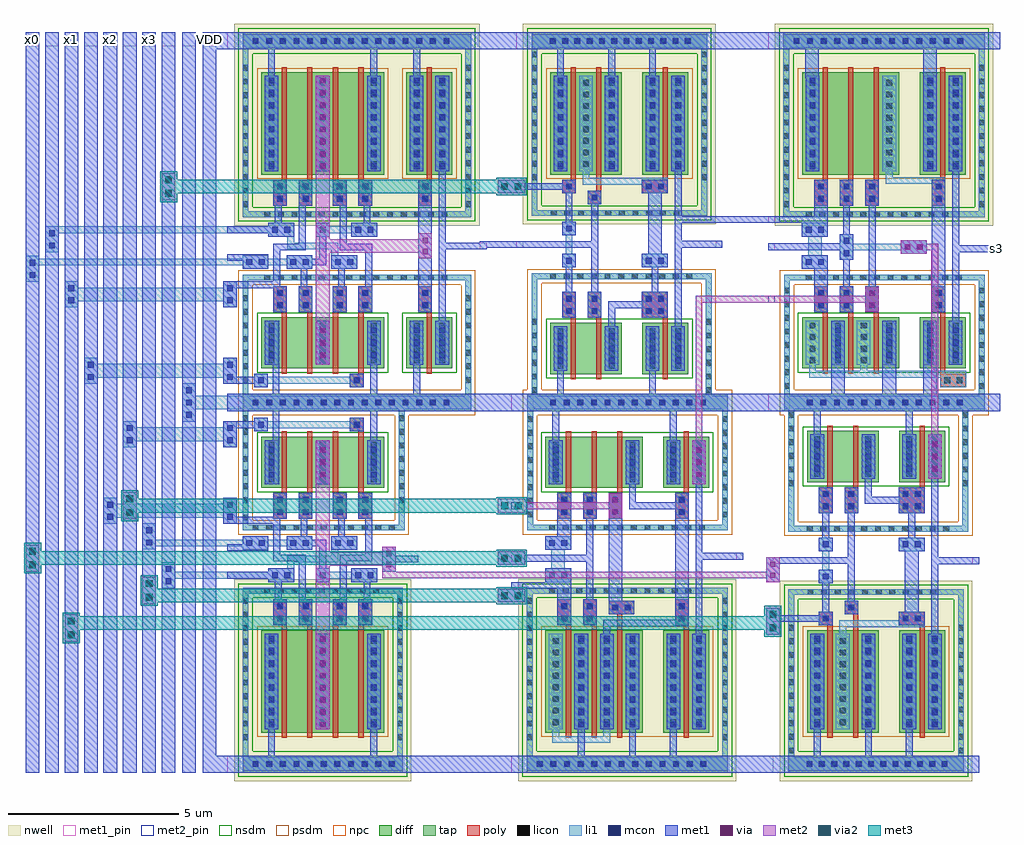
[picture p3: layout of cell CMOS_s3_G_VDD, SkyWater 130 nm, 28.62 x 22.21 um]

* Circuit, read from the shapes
.subckt CMOS_s3_G_VDD GND VDD s3 x0 x0_bar x1 x1_bar x2 x2_bar x3 x3_bar
XM1 n1 x2 GND GND sky130_fd_pr__nfet_01v8 w=1.5 l=0.15
XM2 n2 x1 GND GND sky130_fd_pr__nfet_01v8 w=1.5 l=0.15
XM3 CMOS_AND_G_VDD_5/A x3 n1 GND sky130_fd_pr__nfet_01v8 w=1.5 l=0.15
XM4 n3 x0 n2 GND sky130_fd_pr__nfet_01v8 w=1.5 l=0.15
XM5 n4 x3_bar CMOS_AND_G_VDD_5/A GND sky130_fd_pr__nfet_01v8 w=1.5 l=0.15
XM6 n5 x0_bar n3 GND sky130_fd_pr__nfet_01v8 w=1.5 l=0.15
XM7 GND x2_bar n4 GND sky130_fd_pr__nfet_01v8 w=1.5 l=0.15
XM8 GND x1_bar n5 GND sky130_fd_pr__nfet_01v8 w=1.5 l=0.15
XM9 CMOS_AND_G_VDD_4/A n3 GND GND sky130_fd_pr__nfet_01v8 w=1.5 l=0.15
XM10 n6 x3 GND GND sky130_fd_pr__nfet_01v8 w=1.5 l=0.15
XM11 n7 x3_bar GND GND sky130_fd_pr__nfet_01v8 w=1.5 l=0.15
XM12 n8 x0 n6 GND sky130_fd_pr__nfet_01v8 w=1.5 l=0.15
XM13 n9 CMOS_AND_G_VDD_4/A n7 GND sky130_fd_pr__nfet_01v8 w=1.5 l=0.15
XM14 n10 x2_bar n8 GND sky130_fd_pr__nfet_01v8 w=1.5 l=0.15
XM15 CMOS_3in_OR_G_VDD_2/A n9 GND GND sky130_fd_pr__nfet_01v8 w=1.5 l=0.15
XM16 CMOS_3in_OR_G_VDD_2/C n10 GND GND sky130_fd_pr__nfet_01v8 w=1.5 l=0.15
XM17 GND CMOS_3in_OR_G_VDD_2/A n11 GND sky130_fd_pr__nfet_01v8 w=1.5 l=0.15
XM18 n12 x1 GND GND sky130_fd_pr__nfet_01v8 w=1.5 l=0.15
XM19 n11 CMOS_AND_G_VDD_5/AND GND GND sky130_fd_pr__nfet_01v8 w=1.5 l=0.15
XM20 n13 CMOS_AND_G_VDD_5/A n12 GND sky130_fd_pr__nfet_01v8 w=1.5 l=0.15
XM21 GND CMOS_3in_OR_G_VDD_2/C n11 GND sky130_fd_pr__nfet_01v8 w=1.5 l=0.15
XM22 CMOS_AND_G_VDD_5/AND n13 GND GND sky130_fd_pr__nfet_01v8 w=1.5 l=0.15
XM23 s3 n11 GND GND sky130_fd_pr__nfet_01v8 w=1.5 l=0.15
XM24 n14 x3_bar VDD VDD sky130_fd_pr__pfet_01v8 w=3 l=0.15
XM25 n15 x0_bar VDD VDD sky130_fd_pr__pfet_01v8 w=3 l=0.15
XM26 CMOS_AND_G_VDD_5/A x2 n14 VDD sky130_fd_pr__pfet_01v8 w=3 l=0.15
XM27 n3 x1 n15 VDD sky130_fd_pr__pfet_01v8 w=3 l=0.15
XM28 n16 x2_bar CMOS_AND_G_VDD_5/A VDD sky130_fd_pr__pfet_01v8 w=3 l=0.15
XM29 n17 x1_bar n3 VDD sky130_fd_pr__pfet_01v8 w=3 l=0.15
XM30 VDD x3 n16 VDD sky130_fd_pr__pfet_01v8 w=3 l=0.15
XM31 VDD x0 n17 VDD sky130_fd_pr__pfet_01v8 w=3 l=0.15
XM32 CMOS_AND_G_VDD_4/A n3 VDD VDD sky130_fd_pr__pfet_01v8 w=3 l=0.15
XM33 VDD x3 n10 VDD sky130_fd_pr__pfet_01v8 w=3 l=0.15
XM34 n9 x3_bar VDD VDD sky130_fd_pr__pfet_01v8 w=3 l=0.15
XM35 n10 x0 VDD VDD sky130_fd_pr__pfet_01v8 w=3 l=0.15
XM36 VDD CMOS_AND_G_VDD_4/A n9 VDD sky130_fd_pr__pfet_01v8 w=3 l=0.15
XM37 VDD x2_bar n10 VDD sky130_fd_pr__pfet_01v8 w=3 l=0.15
XM38 CMOS_3in_OR_G_VDD_2/A n9 VDD VDD sky130_fd_pr__pfet_01v8 w=3 l=0.15
XM39 CMOS_3in_OR_G_VDD_2/C n10 VDD VDD sky130_fd_pr__pfet_01v8 w=3 l=0.15
XM40 n18 CMOS_3in_OR_G_VDD_2/A VDD VDD sky130_fd_pr__pfet_01v8 w=3 l=0.15
XM41 n13 x1 VDD VDD sky130_fd_pr__pfet_01v8 w=3 l=0.15
XM42 n19 CMOS_AND_G_VDD_5/AND n18 VDD sky130_fd_pr__pfet_01v8 w=3 l=0.15
XM43 VDD CMOS_AND_G_VDD_5/A n13 VDD sky130_fd_pr__pfet_01v8 w=3 l=0.15
XM44 n11 CMOS_3in_OR_G_VDD_2/C n19 VDD sky130_fd_pr__pfet_01v8 w=3 l=0.15
XM45 CMOS_AND_G_VDD_5/AND n13 VDD VDD sky130_fd_pr__pfet_01v8 w=3 l=0.15
XM46 s3 n11 VDD VDD sky130_fd_pr__pfet_01v8 w=3 l=0.15
.ends

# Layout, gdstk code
import gdstk
lib = gdstk.Library(unit=1e-6, precision=1e-09)
def R(c, l, rs):  # rectangles x0, y0, x1, y1
    for r in rs: c.add(gdstk.rectangle(r[:2], r[2:], *l))
def A(c, l, x, y, w, h, nx, ny, dx, dy):  # array of equal rectangles
    R(c, l, [(x+i*dx, y+j*dy, x+i*dx+w, y+j*dy+h) for i in range(nx) for j in range(ny)])
nwell = (64, 20)
diff = (65, 20)
tap = (65, 44)
poly = (66, 20)
licon = (66, 44)
li1 = (67, 20)
mcon = (67, 44)
met1_pin = (68, 16)
met1 = (68, 20)
via = (68, 44)
met2_pin = (69, 16)
met2 = (69, 20)
via2 = (69, 44)
met3 = (70, 20)
nsdm = (93, 44)
psdm = (94, 20)
npc = (95, 20)

cmos_xor_g_vdd = lib.new_cell('CMOS_XOR_G_VDD')
R(cmos_xor_g_vdd, nwell, [(0.2,5.56,5.4,11.48)])
R(cmos_xor_g_vdd, diff, [(1,1.375,4.6,2.875), (1,7.06,4.6,10.06)])
R(cmos_xor_g_vdd, tap, [(0.45,0.125,5.205,0.625), (0.45,0.625,0.62,3.955), (5.035,0.625,5.205,3.955), (0.45,3.955,5.205,4.125), (0.45,5.81,5.15,5.98), (0.45,5.98,0.62,10.73), (4.98,5.98,5.15,10.73), (0.45,10.73,5.15,11.23)])
A(cmos_xor_g_vdd, poly, 1.6, 1.225, 0.15, 1.8, 4, 1, 0.75, 0)
A(cmos_xor_g_vdd, poly, 1.6, 6.91, 0.15, 3.3, 4, 1, 0.75, 0)
R(cmos_xor_g_vdd, poly, [(3.6,0.825,4,1.225), (1.35,3.025,1.75,3.785), (2.1,3.025,2.5,3.785), (3.1,3.025,3.5,3.785), (3.85,3.025,4.25,3.785), (1.35,6.15,1.75,6.91), (2.1,6.15,2.5,6.91), (3.1,6.15,3.5,6.91), (3.85,6.15,4.25,6.91)])
A(cmos_xor_g_vdd, licon, 0.745, 0.29, 0.17, 0.17, 11, 2, 0.4, 3.665)
A(cmos_xor_g_vdd, licon, 0.45, 0.75, 0.17, 0.17, 1, 7, 0, 0.4)
A(cmos_xor_g_vdd, licon, 5.035, 0.75, 0.17, 0.17, 1, 7, 0, 0.4)
A(cmos_xor_g_vdd, licon, 1.215, 1.53, 0.17, 0.17, 3, 4, 1.5, 0.34)
A(cmos_xor_g_vdd, licon, 1.09, 5.81, 0.17, 0.17, 9, 1, 0.4, 0)
A(cmos_xor_g_vdd, licon, 0.45, 6.105, 0.17, 0.17, 1, 11, 0, 0.4)
A(cmos_xor_g_vdd, licon, 4.98, 6.105, 0.17, 0.17, 1, 11, 0, 0.4)
A(cmos_xor_g_vdd, licon, 1.215, 7.285, 0.17, 0.17, 3, 8, 1.5, 0.34)
A(cmos_xor_g_vdd, licon, 0.745, 10.895, 0.17, 0.17, 11, 1, 0.4, 0)
R(cmos_xor_g_vdd, licon, [(3.715,0.94,3.885,1.11), (1.465,3.14,1.635,3.31), (2.215,3.14,2.385,3.31), (3.215,3.14,3.385,3.31), (3.965,3.14,4.135,3.31), (1.465,3.5,1.635,3.67), (2.215,3.5,2.385,3.67), (3.215,3.5,3.385,3.67), (3.965,3.5,4.135,3.67), (0.45,3.66,0.62,3.83), (1.465,6.265,1.635,6.435), (2.215,6.265,2.385,6.435), (3.215,6.265,3.385,6.435), (3.965,6.265,4.135,6.435), (1.465,6.625,1.635,6.795), (2.215,6.625,2.385,6.795), (3.215,6.625,3.385,6.795), (3.965,6.625,4.135,6.795)])
A(cmos_xor_g_vdd, li1, 1.1, 1.475, 0.4, 1.3, 3, 1, 1.5, 0)
A(cmos_xor_g_vdd, li1, 1.1, 7.16, 0.4, 2.8, 3, 1, 1.5, 0)
R(cmos_xor_g_vdd, li1, [(0.45,0.175,5.205,0.575), (0.45,0.575,0.62,3.955), (5.035,0.575,5.205,3.955), (0.79,0.825,1.19,0.925), (3.6,0.825,4,0.925), (0.79,0.925,4,1.125), (0.79,1.125,1.19,1.225), (3.6,1.125,4,1.225), (1.35,3.025,1.75,3.785), (2.1,3.025,2.5,3.785), (3.1,3.025,3.5,3.785), (3.85,3.025,4.25,3.785), (0.45,3.955,5.205,4.125), (0.45,4.295,1.21,4.395), (1.74,4.295,2.5,4.395), (3.05,4.295,3.81,4.695), (0.45,4.395,2.5,4.595), (0.45,4.595,1.21,4.695), (1.74,4.595,2.5,4.695), (3.05,4.695,3.25,4.865), (1.76,4.865,3.25,5.065), (1.76,5.065,1.96,5.24), (1.2,5.24,1.96,5.64), (2.6,5.24,3,5.345), (3.64,5.24,4.4,5.345), (2.6,5.345,4.4,5.545), (2.6,5.545,3,5.64), (3.64,5.545,4.4,5.64), (0.45,5.81,5.15,5.98), (0.45,5.98,0.62,10.78), (4.98,5.98,5.15,10.78), (1.35,6.15,1.75,6.91), (2.1,6.15,2.5,6.91), (3.1,6.15,3.5,6.91), (3.85,6.15,4.25,6.91), (0.45,10.78,5.15,11.18)])
A(cmos_xor_g_vdd, mcon, 0.745, 0.29, 0.17, 0.17, 11, 2, 0.4, 10.605)
A(cmos_xor_g_vdd, mcon, 1.215, 1.68, 0.17, 0.17, 3, 3, 1.5, 0.36)
A(cmos_xor_g_vdd, mcon, 1.675, 5.355, 0.17, 0.17, 3, 1, 1.04, 0)
A(cmos_xor_g_vdd, mcon, 1.215, 7.215, 0.17, 0.17, 3, 8, 1.5, 0.36)
R(cmos_xor_g_vdd, mcon, [(0.905,0.94,1.075,1.11), (3.715,0.94,3.885,1.11), (1.465,3.14,1.635,3.31), (2.215,3.14,2.385,3.31), (3.215,3.14,3.385,3.31), (3.965,3.14,4.135,3.31), (1.465,3.5,1.635,3.67), (2.215,3.5,2.385,3.67), (3.215,3.5,3.385,3.67), (3.965,3.5,4.135,3.67), (0.565,4.41,0.735,4.58), (0.925,4.41,1.095,4.58), (1.855,4.41,2.025,4.58), (2.215,4.41,2.385,4.58), (3.165,4.41,3.335,4.58), (3.525,4.41,3.695,4.58), (1.315,5.355,1.485,5.525), (4.115,5.355,4.285,5.525), (1.465,6.265,1.635,6.435), (2.215,6.265,2.385,6.435), (3.215,6.265,3.385,6.435), (3.965,6.265,4.135,6.435), (1.465,6.625,1.635,6.795), (2.215,6.625,2.385,6.795), (3.215,6.625,3.385,6.795), (3.965,6.625,4.135,6.795)])
R(cmos_xor_g_vdd, met1_pin, [(0,0.125,0.5,0.625), (0,0.925,0.2,1.125), (0,3.73,0.2,3.93), (0,4.53,0.2,4.73), (5.4,4.865,5.6,5.065), (0,5.34,0.2,5.54), (0,10.73,0.5,11.23)])
A(cmos_xor_g_vdd, met1, 1.1, 7.16, 0.4, 2.8, 3, 1, 1.5, 0)
R(cmos_xor_g_vdd, met1, [(0,0.125,5.655,0.625), (1.33,0.625,1.53,1.475), (4.2,0.625,4.4,1.475), (0.79,0.825,1.19,0.925), (3.6,0.825,4,1.225), (0,0.925,1.19,1.125), (0.79,1.125,1.19,1.225), (1.1,1.475,1.53,2.775), (2.6,1.475,3,2.775), (4.1,1.475,4.5,2.775), (1.35,3.025,1.75,3.73), (2.1,3.025,2.5,3.785), (3.1,3.025,3.5,3.785), (3.85,3.025,4.25,3.785), (0,3.73,1.75,3.785), (0,3.785,1.55,3.93), (2.15,3.785,2.35,4.295), (3.25,3.785,3.45,4.295), (4.05,3.785,4.25,4.835), (1.35,3.93,1.55,4.835), (0.45,4.295,1.21,4.53), (1.74,4.295,2.5,4.395), (3.05,4.295,3.81,4.695), (1.74,4.395,2.9,4.595), (0,4.53,1.21,4.73), (1.74,4.595,2.5,4.695), (2.7,4.595,2.9,5.24), (4.54,4.605,4.94,4.865), (1.35,4.835,2.3,5.035), (3.3,4.835,4.25,5.035), (4.54,4.865,5.6,5.065), (2.1,5.035,2.3,6.15), (3.3,5.035,3.5,6.15), (4.54,5.065,4.94,5.335), (1.2,5.24,1.96,5.34), (2.6,5.24,3,5.64), (3.64,5.24,4.4,5.64), (0,5.34,1.96,5.54), (1.2,5.54,1.96,5.64), (1.4,5.64,1.6,6.15), (4,5.64,4.2,6.15), (1.35,6.15,1.75,6.91), (2.1,6.15,2.5,6.91), (3.1,6.15,3.5,6.91), (3.85,6.15,4.25,6.91), (1.2,9.96,1.4,10.73), (4.2,9.96,4.4,10.73), (0,10.73,5.6,11.23)])
A(cmos_xor_g_vdd, via, 2.725, 1.69, 0.15, 0.15, 1, 3, 0, 0.36)
A(cmos_xor_g_vdd, via, 2.725, 7.225, 0.15, 0.15, 1, 8, 0, 0.36)
R(cmos_xor_g_vdd, via, [(4.665,4.73,4.815,4.88), (4.665,5.05,4.815,5.2)])
R(cmos_xor_g_vdd, met2, [(2.6,1.475,3,4.765), (4.54,4.605,4.94,4.765), (2.6,4.765,4.94,5.165), (2.6,5.165,3,9.96), (4.54,5.165,4.94,5.335)])
R(cmos_xor_g_vdd, nsdm, [(0.875,1.25,4.725,3), (0.325,5.685,5.275,6.105), (0.325,6.105,0.745,10.605), (4.855,6.105,5.275,10.605), (0.325,10.605,5.275,11.355)])
R(cmos_xor_g_vdd, psdm, [(0.325,0,5.33,0.75), (0.325,0.75,0.745,3.83), (4.91,0.75,5.33,3.83), (0.325,3.83,5.33,4.25), (0.875,6.935,4.725,10.185)])
R(cmos_xor_g_vdd, npc, [(3.615,0.84,3.985,1.21), (1.365,3.04,1.735,3.77), (2.115,3.04,2.485,3.77), (3.115,3.04,3.485,3.77), (3.865,3.04,4.235,3.77), (1.365,6.165,1.735,6.895), (2.115,6.165,2.485,6.895), (3.115,6.165,3.485,6.895), (3.865,6.165,4.235,6.895)])
cmos_xor_g_vdd.add(gdstk.Label('XOR', (5.5,4.965), layer=68, texttype=5))
cmos_xor_g_vdd.add(gdstk.Label('B_bar', (0.1,5.44), layer=68, texttype=5))
cmos_xor_g_vdd.add(gdstk.Label('B', (0.1,4.63), layer=68, texttype=5))
cmos_xor_g_vdd.add(gdstk.Label('A', (0.1,3.83), layer=68, texttype=5))
cmos_xor_g_vdd.add(gdstk.Label('A_bar', (0.1,1.025), layer=68, texttype=5))
cmos_xor_g_vdd.add(gdstk.Label('VDD', (0.25,10.98), layer=68, texttype=5))
cmos_xor_g_vdd.add(gdstk.Label('GND', (0.25,0.375), layer=68, texttype=5))

cmos_3in_and_g_vdd = lib.new_cell('CMOS_3in_AND_G_VDD')
R(cmos_3in_and_g_vdd, nwell, [(0.2,5.56,6.6,11.48)])
R(cmos_3in_and_g_vdd, diff, [(1,1.375,3.85,2.875), (4.45,1.375,5.8,2.875), (1,7.06,3.85,10.06), (4.45,7.06,5.8,10.06)])
R(cmos_3in_and_g_vdd, tap, [(0.465,0.125,6.35,0.625), (0.465,0.625,0.635,3.955), (6.18,0.625,6.35,3.955), (0.465,3.955,6.35,4.125), (0.45,5.81,6.35,5.98), (0.45,5.98,0.62,10.73), (6.18,5.98,6.35,10.73), (0.45,10.73,6.35,11.23)])
A(cmos_3in_and_g_vdd, poly, 1.6, 1.225, 0.15, 1.8, 3, 1, 0.75, 0)
A(cmos_3in_and_g_vdd, poly, 1.35, 3.025, 0.4, 0.76, 3, 1, 0.75, 0)
R(cmos_3in_and_g_vdd, poly, [(5.05,1.225,5.2,3.025), (4.8,3.025,5.2,3.785), (1.35,6.15,1.75,6.91), (2.1,6.15,2.5,6.91), (4.8,6.15,5.2,6.91), (2.85,6.19,3.61,6.59), (3.1,6.59,3.25,10.21), (1.6,6.91,1.75,10.21), (2.35,6.91,2.5,10.21), (5.05,6.91,5.2,10.21)])
A(cmos_3in_and_g_vdd, licon, 1.135, 0.29, 0.17, 0.17, 12, 1, 0.4, 0)
A(cmos_3in_and_g_vdd, licon, 0.465, 0.775, 0.17, 0.17, 1, 8, 0, 0.4)
A(cmos_3in_and_g_vdd, licon, 6.18, 0.775, 0.17, 0.17, 1, 8, 0, 0.4)
A(cmos_3in_and_g_vdd, licon, 1.215, 1.53, 0.17, 0.17, 1, 4, 0, 0.34)
A(cmos_3in_and_g_vdd, licon, 3.465, 1.53, 0.17, 0.17, 1, 4, 0, 0.34)
A(cmos_3in_and_g_vdd, licon, 4.665, 1.53, 0.17, 0.17, 1, 4, 0, 0.34)
A(cmos_3in_and_g_vdd, licon, 5.415, 1.53, 0.17, 0.17, 1, 4, 0, 0.34)
A(cmos_3in_and_g_vdd, licon, 1.465, 3.14, 0.17, 0.17, 3, 2, 0.75, 0.36)
A(cmos_3in_and_g_vdd, licon, 1.105, 3.955, 0.17, 0.17, 12, 1, 0.4, 0)
A(cmos_3in_and_g_vdd, licon, 1.105, 5.81, 0.17, 0.17, 11, 1, 0.4, 0)
A(cmos_3in_and_g_vdd, licon, 0.45, 6.105, 0.17, 0.17, 1, 11, 0, 0.4)
A(cmos_3in_and_g_vdd, licon, 6.18, 6.105, 0.17, 0.17, 1, 11, 0, 0.4)
A(cmos_3in_and_g_vdd, licon, 1.215, 7.285, 0.17, 0.17, 4, 8, 0.75, 0.34)
A(cmos_3in_and_g_vdd, licon, 4.665, 7.285, 0.17, 0.17, 1, 8, 0, 0.34)
A(cmos_3in_and_g_vdd, licon, 5.415, 7.285, 0.17, 0.17, 1, 8, 0, 0.34)
A(cmos_3in_and_g_vdd, licon, 0.745, 10.895, 0.17, 0.17, 13, 1, 0.4, 0)
R(cmos_3in_and_g_vdd, licon, [(4.915,3.14,5.085,3.31), (4.915,3.5,5.085,3.67), (1.465,6.265,1.635,6.435), (2.215,6.265,2.385,6.435), (4.915,6.265,5.085,6.435), (2.965,6.305,3.135,6.475), (3.325,6.305,3.495,6.475), (1.465,6.625,1.635,6.795), (2.215,6.625,2.385,6.795), (4.915,6.625,5.085,6.795)])
A(cmos_3in_and_g_vdd, li1, 1.35, 3.025, 0.4, 0.76, 3, 1, 0.75, 0)
A(cmos_3in_and_g_vdd, li1, 1.1, 7.16, 0.4, 2.8, 4, 1, 0.75, 0)
R(cmos_3in_and_g_vdd, li1, [(0.465,0.175,6.35,0.575), (0.465,0.575,0.635,3.955), (6.18,0.575,6.35,3.955), (1.1,1.475,1.5,2.775), (3.35,1.475,3.75,2.775), (4.55,1.475,4.95,2.775), (5.3,1.475,5.7,2.775), (4.8,3.025,5.2,3.785), (0.465,3.955,6.35,4.125), (0.99,4.295,1.75,4.695), (1.17,4.695,1.57,5.24), (0.99,5.24,1.75,5.64), (0.45,5.81,6.35,5.98), (0.45,5.98,0.62,10.78), (6.18,5.98,6.35,10.78), (1.35,6.15,1.75,6.91), (2.1,6.15,2.5,6.91), (4.8,6.15,5.2,6.91), (2.85,6.19,3.61,6.59), (4.55,7.16,4.95,9.96), (5.3,7.16,5.7,9.96), (1.2,9.96,1.4,10.16), (2.7,9.96,2.9,10.16), (1.2,10.16,2.9,10.36), (0.45,10.78,6.35,11.18)])
A(cmos_3in_and_g_vdd, mcon, 1.135, 0.29, 0.17, 0.17, 12, 1, 0.4, 0)
A(cmos_3in_and_g_vdd, mcon, 1.215, 1.68, 0.17, 0.17, 1, 3, 0, 0.36)
A(cmos_3in_and_g_vdd, mcon, 3.465, 1.68, 0.17, 0.17, 1, 3, 0, 0.36)
A(cmos_3in_and_g_vdd, mcon, 4.665, 1.68, 0.17, 0.17, 1, 3, 0, 0.36)
A(cmos_3in_and_g_vdd, mcon, 5.415, 1.68, 0.17, 0.17, 1, 3, 0, 0.36)
A(cmos_3in_and_g_vdd, mcon, 1.465, 3.14, 0.17, 0.17, 3, 2, 0.75, 0.36)
A(cmos_3in_and_g_vdd, mcon, 1.965, 7.215, 0.17, 0.17, 3, 8, 0.75, 0.36)
A(cmos_3in_and_g_vdd, mcon, 4.665, 7.215, 0.17, 0.17, 1, 8, 0, 0.36)
A(cmos_3in_and_g_vdd, mcon, 5.415, 7.215, 0.17, 0.17, 1, 8, 0, 0.36)
A(cmos_3in_and_g_vdd, mcon, 0.745, 10.895, 0.17, 0.17, 13, 1, 0.4, 0)
R(cmos_3in_and_g_vdd, mcon, [(4.915,3.14,5.085,3.31), (4.915,3.5,5.085,3.67), (1.105,4.41,1.275,4.58), (1.465,4.41,1.635,4.58), (1.105,5.355,1.275,5.525), (1.465,5.355,1.635,5.525), (1.465,6.265,1.635,6.435), (2.215,6.265,2.385,6.435), (4.915,6.265,5.085,6.435), (2.965,6.305,3.135,6.475), (3.325,6.305,3.495,6.475), (1.465,6.625,1.635,6.795), (2.215,6.625,2.385,6.795), (4.915,6.625,5.085,6.795)])
R(cmos_3in_and_g_vdd, met1_pin, [(0,0.125,0.5,0.625), (6.6,4.785,6.8,4.985), (0,4.84,0.2,5.04), (0,5.64,0.2,5.84), (0,10.73,0.5,11.23)])
A(cmos_3in_and_g_vdd, met1, 1.85, 7.16, 0.4, 2.8, 3, 1, 0.75, 0)
R(cmos_3in_and_g_vdd, met1, [(0,0.125,6.8,0.625), (1.2,0.625,1.4,1.475), (4.65,0.625,4.85,1.475), (1.1,1.475,1.5,2.775), (3.35,1.475,3.75,2.775), (4.55,1.475,4.95,2.775), (5.3,1.475,5.7,2.775), (3.45,2.775,3.65,3.305), (5.4,2.775,5.6,4.785), (1.35,3.025,1.75,4.295), (2.1,3.025,2.5,3.785), (2.85,3.025,3.25,6.19), (4.8,3.025,5.2,3.305), (3.45,3.305,5.2,3.505), (4.8,3.505,5.2,6.74), (2.2,3.785,2.4,4.84), (0.99,4.295,1.75,4.695), (5.4,4.785,6.8,4.985), (0,4.84,2.4,5.04), (5.4,4.985,5.6,7.16), (2.2,5.04,2.4,6.15), (0.99,5.24,1.75,5.64), (0,5.64,1.75,5.84), (1.35,5.84,1.75,6.91), (2.1,6.15,2.5,6.91), (2.85,6.19,3.61,6.59), (2.7,6.74,5.2,6.94), (2.7,6.94,2.9,7.16), (4.55,7.16,4.95,9.96), (5.3,7.16,5.7,9.96), (1.95,9.96,2.15,10.73), (3.45,9.96,3.65,10.73), (4.65,9.96,4.85,10.73), (0,10.73,6.8,11.23)])
R(cmos_3in_and_g_vdd, via, [(2.975,3.165,3.125,3.315), (2.975,3.485,3.125,3.635)])
R(cmos_3in_and_g_vdd, met2_pin, [(0,3.305,0.2,3.505)])
R(cmos_3in_and_g_vdd, met2, [(2.85,3.04,3.25,3.305), (0,3.305,3.25,3.505), (2.85,3.505,3.25,3.77)])
R(cmos_3in_and_g_vdd, nsdm, [(0.875,1.25,5.925,3), (0.325,5.685,6.475,6.105), (0.325,6.105,0.745,10.605), (6.055,6.105,6.475,10.605), (0.325,10.605,6.475,11.355)])
R(cmos_3in_and_g_vdd, psdm, [(0.34,0,6.475,0.75), (0.34,0.75,0.76,3.83), (6.055,0.75,6.475,3.83), (0.34,3.83,6.475,4.25), (0.875,6.935,5.925,10.185)])
A(cmos_3in_and_g_vdd, npc, 1.365, 3.04, 0.37, 0.73, 3, 1, 0.75, 0)
R(cmos_3in_and_g_vdd, npc, [(4.815,3.04,5.185,3.77), (1.365,6.165,1.735,6.895), (2.115,6.165,2.485,6.895), (4.815,6.165,5.185,6.895), (2.865,6.205,3.595,6.575)])
cmos_3in_and_g_vdd.add(gdstk.Label('GND', (0.25,0.375), layer=68, texttype=5))
cmos_3in_and_g_vdd.add(gdstk.Label('VDD', (0.25,10.98), layer=68, texttype=5))
cmos_3in_and_g_vdd.add(gdstk.Label('C', (0.1,5.74), layer=68, texttype=5))
cmos_3in_and_g_vdd.add(gdstk.Label('B', (0.1,4.94), layer=68, texttype=5))
cmos_3in_and_g_vdd.add(gdstk.Label('OUT', (6.7,4.885), layer=68, texttype=5))
cmos_3in_and_g_vdd.add(gdstk.Label('A', (0.1,3.405), layer=69, texttype=5))

cmos_3in_or_g_vdd = lib.new_cell('CMOS_3in_OR_G_VDD')
R(cmos_3in_or_g_vdd, nwell, [(0.2,5.56,6.6,11.48)])
R(cmos_3in_or_g_vdd, diff, [(1,1.375,3.85,2.875), (4.45,1.375,5.8,2.875), (1,7.06,3.85,10.06), (4.45,7.06,5.8,10.06)])
R(cmos_3in_or_g_vdd, tap, [(0.465,0.125,6.35,0.625), (0.465,0.625,0.635,3.955), (6.18,0.625,6.35,3.955), (0.465,3.955,6.35,4.125), (0.45,5.81,6.35,5.98), (0.45,5.98,0.62,10.73), (6.18,5.98,6.35,10.73), (0.45,10.73,6.35,11.23)])
A(cmos_3in_or_g_vdd, poly, 1.6, 1.225, 0.15, 1.8, 3, 1, 0.75, 0)
A(cmos_3in_or_g_vdd, poly, 1.35, 3.025, 0.4, 0.76, 3, 2, 0.75, 3.125)
A(cmos_3in_or_g_vdd, poly, 1.6, 6.91, 0.15, 3.3, 3, 1, 0.75, 0)
R(cmos_3in_or_g_vdd, poly, [(5.05,0.825,5.81,1.225), (5.05,1.225,5.2,3.025), (4.8,3.025,5.2,3.785), (4.8,6.15,5.2,6.91), (5.05,6.91,5.2,10.21)])
A(cmos_3in_or_g_vdd, licon, 1.135, 0.29, 0.17, 0.17, 12, 1, 0.4, 0)
A(cmos_3in_or_g_vdd, licon, 0.465, 0.775, 0.17, 0.17, 1, 8, 0, 0.4)
A(cmos_3in_or_g_vdd, licon, 6.18, 0.775, 0.17, 0.17, 1, 8, 0, 0.4)
A(cmos_3in_or_g_vdd, licon, 1.215, 1.53, 0.17, 0.17, 4, 4, 0.75, 0.34)
A(cmos_3in_or_g_vdd, licon, 4.665, 1.53, 0.17, 0.17, 1, 4, 0, 0.34)
A(cmos_3in_or_g_vdd, licon, 5.415, 1.53, 0.17, 0.17, 1, 4, 0, 0.34)
A(cmos_3in_or_g_vdd, licon, 1.465, 3.14, 0.17, 0.17, 3, 2, 0.75, 0.36)
A(cmos_3in_or_g_vdd, licon, 1.105, 3.955, 0.17, 0.17, 12, 1, 0.4, 0)
A(cmos_3in_or_g_vdd, licon, 1.105, 5.81, 0.17, 0.17, 11, 1, 0.4, 0)
A(cmos_3in_or_g_vdd, licon, 0.45, 6.105, 0.17, 0.17, 1, 11, 0, 0.4)
A(cmos_3in_or_g_vdd, licon, 6.18, 6.105, 0.17, 0.17, 1, 11, 0, 0.4)
A(cmos_3in_or_g_vdd, licon, 1.465, 6.265, 0.17, 0.17, 3, 2, 0.75, 0.36)
A(cmos_3in_or_g_vdd, licon, 1.215, 7.285, 0.17, 0.17, 1, 8, 0, 0.34)
A(cmos_3in_or_g_vdd, licon, 3.465, 7.285, 0.17, 0.17, 1, 8, 0, 0.34)
A(cmos_3in_or_g_vdd, licon, 4.665, 7.285, 0.17, 0.17, 1, 8, 0, 0.34)
A(cmos_3in_or_g_vdd, licon, 5.415, 7.285, 0.17, 0.17, 1, 8, 0, 0.34)
A(cmos_3in_or_g_vdd, licon, 0.745, 10.895, 0.17, 0.17, 13, 1, 0.4, 0)
R(cmos_3in_or_g_vdd, licon, [(5.165,0.94,5.335,1.11), (5.525,0.94,5.695,1.11), (4.915,3.14,5.085,3.31), (4.915,3.5,5.085,3.67), (4.915,6.265,5.085,6.435), (4.915,6.625,5.085,6.795)])
A(cmos_3in_or_g_vdd, li1, 1.1, 1.475, 0.4, 1.3, 4, 1, 0.75, 0)
A(cmos_3in_or_g_vdd, li1, 1.35, 3.025, 0.4, 0.76, 3, 2, 0.75, 3.125)
R(cmos_3in_or_g_vdd, li1, [(0.465,0.175,6.35,0.575), (0.465,0.575,0.635,3.955), (6.18,0.575,6.35,3.955), (5.05,0.825,5.81,1.105), (1.2,1.105,5.81,1.305), (1.2,1.305,1.4,1.475), (2.7,1.305,2.9,1.475), (4.55,1.475,4.95,2.775), (5.3,1.475,5.7,2.775), (4.8,3.025,5.2,3.785), (0.465,3.955,6.35,4.125), (0.99,4.295,1.75,4.695), (1.17,4.695,1.57,5.24), (0.99,5.24,1.75,5.64), (0.45,5.81,6.35,5.98), (0.45,5.98,0.62,10.78), (6.18,5.98,6.35,10.78), (4.8,6.15,5.2,6.785), (3.45,6.785,5.2,6.985), (3.45,6.985,3.65,7.16), (1.1,7.16,1.5,9.96), (3.35,7.16,3.75,9.96), (4.55,7.16,4.95,9.96), (5.3,7.16,5.7,9.96), (0.45,10.78,6.35,11.18)])
A(cmos_3in_or_g_vdd, mcon, 1.135, 0.29, 0.17, 0.17, 12, 1, 0.4, 0)
A(cmos_3in_or_g_vdd, mcon, 1.965, 1.68, 0.17, 0.17, 1, 3, 0, 0.36)
A(cmos_3in_or_g_vdd, mcon, 3.465, 1.68, 0.17, 0.17, 1, 3, 0, 0.36)
A(cmos_3in_or_g_vdd, mcon, 4.665, 1.68, 0.17, 0.17, 1, 3, 0, 0.36)
A(cmos_3in_or_g_vdd, mcon, 5.415, 1.68, 0.17, 0.17, 1, 3, 0, 0.36)
A(cmos_3in_or_g_vdd, mcon, 1.465, 3.14, 0.17, 0.17, 3, 2, 0.75, 0.36)
A(cmos_3in_or_g_vdd, mcon, 1.465, 6.265, 0.17, 0.17, 3, 2, 0.75, 0.36)
A(cmos_3in_or_g_vdd, mcon, 1.215, 7.215, 0.17, 0.17, 1, 8, 0, 0.36)
A(cmos_3in_or_g_vdd, mcon, 4.665, 7.215, 0.17, 0.17, 1, 8, 0, 0.36)
A(cmos_3in_or_g_vdd, mcon, 5.415, 7.215, 0.17, 0.17, 1, 8, 0, 0.36)
A(cmos_3in_or_g_vdd, mcon, 0.745, 10.895, 0.17, 0.17, 13, 1, 0.4, 0)
R(cmos_3in_or_g_vdd, mcon, [(4.915,3.14,5.085,3.31), (4.915,3.5,5.085,3.67), (1.105,4.41,1.275,4.58), (1.465,4.41,1.635,4.58), (1.105,5.355,1.275,5.525), (1.465,5.355,1.635,5.525), (4.915,6.265,5.085,6.435), (4.915,6.625,5.085,6.795)])
R(cmos_3in_or_g_vdd, met1_pin, [(0,0.125,0.5,0.625), (6.6,4.785,6.8,4.985), (0,4.84,0.2,5.04), (0,5.64,0.2,5.84), (0,10.73,0.5,11.23)])
R(cmos_3in_or_g_vdd, met1, [(0,0.125,6.8,0.625), (1.85,0.625,2.25,2.775), (3.35,0.625,3.75,2.775), (4.55,0.625,4.95,2.775), (5.3,1.475,5.7,2.775), (5.4,2.775,5.6,4.785), (1.35,3.025,1.75,4.295), (2.1,3.025,2.5,3.785), (2.85,3.025,3.25,3.785), (4.8,3.025,5.2,6.91), (2.2,3.785,2.4,4.84), (2.95,3.785,3.15,6.15), (0.99,4.295,1.75,4.695), (5.4,4.785,6.8,4.985), (0,4.84,2.4,5.04), (5.4,4.985,5.6,7.16), (2.2,5.04,2.4,6.15), (0.99,5.24,1.75,5.64), (0,5.64,1.75,5.84), (1.35,5.84,1.75,6.91), (2.1,6.15,2.5,6.91), (2.85,6.15,3.25,6.91), (1.1,7.16,1.5,9.885), (4.55,7.16,4.95,10.73), (5.3,7.16,5.7,9.96), (1.09,9.885,1.5,9.96), (1.09,9.96,1.49,10.73), (0,10.73,6.8,11.23)])
R(cmos_3in_or_g_vdd, via, [(2.975,3.165,3.125,3.315), (2.975,3.485,3.125,3.635)])
R(cmos_3in_or_g_vdd, met2_pin, [(0,3.305,0.2,3.505)])
R(cmos_3in_or_g_vdd, met2, [(2.85,3.04,3.25,3.305), (0,3.305,3.25,3.505), (2.85,3.505,3.25,3.77)])
R(cmos_3in_or_g_vdd, nsdm, [(0.875,1.25,5.925,3), (0.325,5.685,6.475,6.105), (0.325,6.105,0.745,10.605), (6.055,6.105,6.475,10.605), (0.325,10.605,6.475,11.355)])
R(cmos_3in_or_g_vdd, psdm, [(0.34,0,6.475,0.75), (0.34,0.75,0.76,3.83), (6.055,0.75,6.475,3.83), (0.34,3.83,6.475,4.25), (0.875,6.935,5.925,10.185)])
A(cmos_3in_or_g_vdd, npc, 1.365, 3.04, 0.37, 0.73, 3, 2, 0.75, 3.125)
R(cmos_3in_or_g_vdd, npc, [(5.065,0.84,5.795,1.21), (4.815,3.04,5.185,3.77), (4.815,6.165,5.185,6.895)])
cmos_3in_or_g_vdd.add(gdstk.Label('GND', (0.25,0.375), layer=68, texttype=5))
cmos_3in_or_g_vdd.add(gdstk.Label('VDD', (0.25,10.98), layer=68, texttype=5))
cmos_3in_or_g_vdd.add(gdstk.Label('A', (0.1,5.74), layer=68, texttype=5))
cmos_3in_or_g_vdd.add(gdstk.Label('B', (0.1,4.94), layer=68, texttype=5))
cmos_3in_or_g_vdd.add(gdstk.Label('OR', (6.7,4.885), layer=68, texttype=5))
cmos_3in_or_g_vdd.add(gdstk.Label('C', (0.1,3.405), layer=69, texttype=5))

cmos_xnor_g_vdd = lib.new_cell('CMOS_XNOR_G_VDD')
R(cmos_xnor_g_vdd, nwell, [(0.2,5.56,7.405,11.48)])
R(cmos_xnor_g_vdd, diff, [(1,1.375,4.6,2.875), (5.255,1.375,6.605,2.875), (1,7.06,4.6,10.06), (5.255,7.06,6.605,10.06)])
R(cmos_xnor_g_vdd, tap, [(0.45,0.125,7.155,0.625), (0.45,0.625,0.62,3.955), (6.985,0.625,7.155,3.955), (0.45,3.955,7.155,4.125), (0.45,5.81,7.155,5.98), (0.45,5.98,0.62,10.73), (6.985,5.98,7.155,10.73), (0.45,10.73,7.155,11.23)])
A(cmos_xnor_g_vdd, poly, 1.6, 1.225, 0.15, 1.8, 4, 1, 0.75, 0)
A(cmos_xnor_g_vdd, poly, 1.6, 6.91, 0.15, 3.3, 4, 1, 0.75, 0)
R(cmos_xnor_g_vdd, poly, [(3.6,0.825,4,1.225), (5.855,1.225,6.005,3.025), (1.35,3.025,1.75,3.785), (2.1,3.025,2.5,3.785), (3.1,3.025,3.5,3.785), (3.85,3.025,4.25,3.785), (5.605,3.025,6.005,3.785), (1.35,6.15,1.75,6.91), (2.1,6.15,2.5,6.91), (3.1,6.15,3.5,6.91), (3.85,6.15,4.25,6.91), (5.605,6.15,6.005,6.91), (5.855,6.91,6.005,10.21)])
A(cmos_xnor_g_vdd, licon, 0.745, 0.29, 0.17, 0.17, 15, 2, 0.4, 10.605)
A(cmos_xnor_g_vdd, licon, 0.45, 0.95, 0.17, 0.17, 1, 7, 0, 0.4)
A(cmos_xnor_g_vdd, licon, 6.985, 0.95, 0.17, 0.17, 1, 7, 0, 0.4)
A(cmos_xnor_g_vdd, licon, 1.215, 1.53, 0.17, 0.17, 3, 4, 1.5, 0.34)
A(cmos_xnor_g_vdd, licon, 5.47, 1.53, 0.17, 0.17, 1, 4, 0, 0.34)
A(cmos_xnor_g_vdd, licon, 6.22, 1.53, 0.17, 0.17, 1, 4, 0, 0.34)
A(cmos_xnor_g_vdd, licon, 1.09, 3.955, 0.17, 0.17, 14, 2, 0.4, 1.855)
A(cmos_xnor_g_vdd, licon, 0.45, 6.105, 0.17, 0.17, 1, 11, 0, 0.4)
A(cmos_xnor_g_vdd, licon, 6.985, 6.105, 0.17, 0.17, 1, 11, 0, 0.4)
A(cmos_xnor_g_vdd, licon, 1.215, 7.285, 0.17, 0.17, 3, 8, 1.5, 0.34)
A(cmos_xnor_g_vdd, licon, 5.47, 7.285, 0.17, 0.17, 1, 8, 0, 0.34)
A(cmos_xnor_g_vdd, licon, 6.22, 7.285, 0.17, 0.17, 1, 8, 0, 0.34)
R(cmos_xnor_g_vdd, licon, [(3.715,0.94,3.885,1.11), (1.465,3.14,1.635,3.31), (2.215,3.14,2.385,3.31), (3.215,3.14,3.385,3.31), (3.965,3.14,4.135,3.31), (5.72,3.14,5.89,3.31), (1.465,3.5,1.635,3.67), (2.215,3.5,2.385,3.67), (3.215,3.5,3.385,3.67), (3.965,3.5,4.135,3.67), (5.72,3.5,5.89,3.67), (1.465,6.265,1.635,6.435), (2.215,6.265,2.385,6.435), (3.215,6.265,3.385,6.435), (3.965,6.265,4.135,6.435), (5.72,6.265,5.89,6.435), (1.465,6.625,1.635,6.795), (2.215,6.625,2.385,6.795), (3.215,6.625,3.385,6.795), (3.965,6.625,4.135,6.795), (5.72,6.625,5.89,6.795)])
A(cmos_xnor_g_vdd, li1, 1.1, 1.475, 0.4, 1.3, 3, 1, 1.5, 0)
A(cmos_xnor_g_vdd, li1, 1.1, 7.16, 0.4, 2.8, 3, 1, 1.5, 0)
R(cmos_xnor_g_vdd, li1, [(0.45,0.175,7.155,0.575), (0.45,0.575,0.62,3.955), (6.985,0.575,7.155,3.955), (0.79,0.825,1.19,0.925), (3.6,0.825,4,0.925), (0.79,0.925,4,1.125), (0.79,1.125,1.19,1.225), (3.6,1.125,4,1.225), (5.355,1.475,5.755,2.775), (6.105,1.475,6.505,2.775), (1.35,3.025,1.75,3.785), (2.1,3.025,2.5,3.785), (3.1,3.025,3.5,3.785), (3.85,3.025,4.25,3.785), (5.605,3.025,6.005,3.785), (0.45,3.955,7.155,4.125), (0.45,4.295,1.21,4.395), (1.74,4.295,2.5,4.395), (3.05,4.295,3.81,4.695), (0.45,4.395,2.5,4.595), (0.45,4.595,1.21,4.695), (1.74,4.595,2.5,4.695), (3.05,4.695,3.25,4.865), (1.76,4.865,3.25,5.065), (1.76,5.065,1.96,5.24), (1.2,5.24,1.96,5.64), (2.6,5.24,3,5.345), (3.64,5.24,4.4,5.345), (2.6,5.345,4.4,5.545), (2.6,5.545,3,5.64), (3.64,5.545,4.4,5.64), (0.45,5.81,7.155,5.98), (0.45,5.98,0.62,10.78), (6.985,5.98,7.155,10.78), (1.35,6.15,1.75,6.91), (2.1,6.15,2.5,6.91), (3.1,6.15,3.5,6.91), (3.85,6.15,4.25,6.91), (5.605,6.15,6.005,6.91), (5.355,7.16,5.755,9.96), (6.105,7.16,6.505,9.96), (0.45,10.78,7.155,11.18)])
A(cmos_xnor_g_vdd, mcon, 0.745, 0.29, 0.17, 0.17, 15, 2, 0.4, 10.605)
A(cmos_xnor_g_vdd, mcon, 1.215, 1.68, 0.17, 0.17, 3, 3, 1.5, 0.36)
A(cmos_xnor_g_vdd, mcon, 5.47, 1.68, 0.17, 0.17, 1, 3, 0, 0.36)
A(cmos_xnor_g_vdd, mcon, 6.22, 1.68, 0.17, 0.17, 1, 3, 0, 0.36)
A(cmos_xnor_g_vdd, mcon, 1.675, 5.355, 0.17, 0.17, 3, 1, 1.04, 0)
A(cmos_xnor_g_vdd, mcon, 1.215, 7.215, 0.17, 0.17, 3, 8, 1.5, 0.36)
A(cmos_xnor_g_vdd, mcon, 5.47, 7.215, 0.17, 0.17, 1, 8, 0, 0.36)
A(cmos_xnor_g_vdd, mcon, 6.22, 7.215, 0.17, 0.17, 1, 8, 0, 0.36)
R(cmos_xnor_g_vdd, mcon, [(0.905,0.94,1.075,1.11), (3.715,0.94,3.885,1.11), (1.465,3.14,1.635,3.31), (2.215,3.14,2.385,3.31), (3.215,3.14,3.385,3.31), (3.965,3.14,4.135,3.31), (5.72,3.14,5.89,3.31), (1.465,3.5,1.635,3.67), (2.215,3.5,2.385,3.67), (3.215,3.5,3.385,3.67), (3.965,3.5,4.135,3.67), (5.72,3.5,5.89,3.67), (0.565,4.41,0.735,4.58), (0.925,4.41,1.095,4.58), (1.855,4.41,2.025,4.58), (2.215,4.41,2.385,4.58), (3.165,4.41,3.335,4.58), (3.525,4.41,3.695,4.58), (1.315,5.355,1.485,5.525), (4.115,5.355,4.285,5.525), (1.465,6.265,1.635,6.435), (2.215,6.265,2.385,6.435), (3.215,6.265,3.385,6.435), (3.965,6.265,4.135,6.435), (5.72,6.265,5.89,6.435), (1.465,6.625,1.635,6.795), (2.215,6.625,2.385,6.795), (3.215,6.625,3.385,6.795), (3.965,6.625,4.135,6.795), (5.72,6.625,5.89,6.795)])
R(cmos_xnor_g_vdd, met1_pin, [(0,0.125,0.5,0.625), (0,0.925,0.2,1.125), (0,3.73,0.2,3.93), (0,4.53,0.2,4.73), (7.405,4.865,7.605,5.065), (0,5.34,0.2,5.54), (0,10.73,0.5,11.23)])
A(cmos_xnor_g_vdd, met1, 1.1, 7.16, 0.4, 2.8, 3, 1, 1.5, 0)
R(cmos_xnor_g_vdd, met1, [(0,0.125,7.605,0.625), (1.33,0.625,1.53,1.475), (4.2,0.625,4.4,1.475), (5.455,0.625,5.655,1.475), (0.79,0.825,1.19,0.925), (3.6,0.825,4,1.225), (0,0.925,1.19,1.125), (0.79,1.125,1.19,1.225), (1.1,1.475,1.53,2.775), (2.6,1.475,3,2.775), (4.1,1.475,4.5,2.775), (5.355,1.475,5.755,2.775), (6.105,1.475,6.505,2.775), (6.205,2.775,6.405,4.865), (1.35,3.025,1.75,3.73), (2.1,3.025,2.5,3.785), (3.1,3.025,3.5,3.785), (3.85,3.025,4.25,3.785), (5.605,3.025,6.005,6.91), (0,3.73,1.75,3.785), (0,3.785,1.55,3.93), (2.15,3.785,2.35,4.295), (3.25,3.785,3.45,4.295), (4.05,3.785,4.25,4.835), (1.35,3.93,1.55,4.835), (0.45,4.295,1.21,4.53), (1.74,4.295,2.5,4.395), (3.05,4.295,3.81,4.695), (1.74,4.395,2.9,4.595), (0,4.53,1.21,4.73), (1.74,4.595,2.5,4.695), (2.7,4.595,2.9,5.24), (1.35,4.835,2.3,5.035), (3.3,4.835,4.25,5.035), (6.205,4.865,7.605,5.065), (2.1,5.035,2.3,6.15), (3.3,5.035,3.5,6.15), (6.205,5.065,6.405,7.16), (1.2,5.24,1.96,5.34), (2.6,5.24,3,5.64), (3.64,5.24,4.4,5.64), (0,5.34,1.96,5.54), (1.2,5.54,1.96,5.64), (1.4,5.64,1.6,6.15), (4,5.64,4.2,6.15), (1.35,6.15,1.75,6.91), (2.1,6.15,2.5,6.91), (3.1,6.15,3.5,6.91), (3.85,6.15,4.25,6.91), (5.355,7.16,5.755,9.96), (6.105,7.16,6.505,9.96), (1.2,9.96,1.4,10.73), (4.2,9.96,4.4,10.73), (5.455,9.96,5.655,10.73), (0,10.73,7.605,11.23)])
A(cmos_xnor_g_vdd, via, 2.725, 1.69, 0.15, 0.15, 1, 3, 0, 0.36)
A(cmos_xnor_g_vdd, via, 2.725, 7.225, 0.15, 0.15, 1, 8, 0, 0.36)
R(cmos_xnor_g_vdd, via, [(5.73,4.73,5.88,4.88), (5.73,5.05,5.88,5.2)])
R(cmos_xnor_g_vdd, met2, [(2.6,1.475,3,4.765), (5.605,4.605,6.005,4.765), (2.6,4.765,6.005,5.165), (2.6,5.165,3,9.96), (5.605,5.165,6.005,5.335)])
R(cmos_xnor_g_vdd, nsdm, [(0.875,1.25,4.725,3), (5.13,1.25,6.73,3), (0.325,5.685,7.28,6.105), (0.325,6.105,0.745,10.605), (6.86,6.105,7.28,10.605), (0.325,10.605,7.28,11.355)])
R(cmos_xnor_g_vdd, psdm, [(0.325,0,7.28,0.75), (0.325,0.75,0.745,3.83), (6.86,0.75,7.28,3.83), (0.325,3.83,7.28,4.25), (0.875,6.935,4.725,10.185), (5.13,6.935,6.73,10.185)])
R(cmos_xnor_g_vdd, npc, [(3.615,0.84,3.985,1.21), (1.365,3.04,1.735,3.77), (2.115,3.04,2.485,3.77), (3.115,3.04,3.485,3.77), (3.865,3.04,4.235,3.77), (5.62,3.04,5.99,3.77), (1.365,6.165,1.735,6.895), (2.115,6.165,2.485,6.895), (3.115,6.165,3.485,6.895), (3.865,6.165,4.235,6.895), (5.62,6.165,5.99,6.895)])
cmos_xnor_g_vdd.add(gdstk.Label('B_bar', (0.1,5.44), layer=68, texttype=5))
cmos_xnor_g_vdd.add(gdstk.Label('B', (0.1,4.63), layer=68, texttype=5))
cmos_xnor_g_vdd.add(gdstk.Label('A', (0.1,3.83), layer=68, texttype=5))
cmos_xnor_g_vdd.add(gdstk.Label('A_bar', (0.1,1.025), layer=68, texttype=5))
cmos_xnor_g_vdd.add(gdstk.Label('XNOR', (7.505,4.965), layer=68, texttype=5))
cmos_xnor_g_vdd.add(gdstk.Label('VDD', (0.25,10.98), layer=68, texttype=5))
cmos_xnor_g_vdd.add(gdstk.Label('GND', (0.25,0.375), layer=68, texttype=5))

cmos_and_g_vdd = lib.new_cell('CMOS_AND_G_VDD')
R(cmos_and_g_vdd, nwell, [(0.2,4.915,5.85,10.795)])
R(cmos_and_g_vdd, diff, [(1,0.525,3.1,2.025), (3.7,0.525,5.05,2.025), (1,6.375,3.1,9.375), (3.7,6.375,5.05,9.375)])
R(cmos_and_g_vdd, tap, [(0.45,-0.395,5.73,-0.225), (0.45,-0.225,0.62,3.31), (5.56,-0.225,5.73,3.31), (0.45,3.31,5.73,3.48), (0.45,5.165,5.6,5.335), (0.45,5.335,0.62,10.045), (5.43,5.335,5.6,10.045), (0.45,10.045,5.6,10.545)])
R(cmos_and_g_vdd, poly, [(1.6,0.375,1.75,2.175), (2.35,0.375,2.5,2.175), (4.3,0.375,4.45,2.175), (1.35,2.175,1.75,2.935), (2.1,2.175,2.5,2.935), (3.69,2.175,4.45,2.935), (2.1,5.505,2.5,5.905), (1.35,5.825,1.75,6.225), (3.69,5.825,4.45,6.225), (2.35,5.905,2.5,9.525), (1.6,6.225,1.75,9.525), (4.3,6.225,4.45,9.525)])
A(cmos_and_g_vdd, licon, 0.995, -0.395, 0.17, 0.17, 11, 2, 0.4, 3.705)
A(cmos_and_g_vdd, licon, 0.45, -0.03, 0.17, 0.17, 1, 6, 0, 0.4)
A(cmos_and_g_vdd, licon, 5.56, -0.03, 0.17, 0.17, 1, 6, 0, 0.4)
A(cmos_and_g_vdd, licon, 1.215, 0.68, 0.17, 0.17, 1, 4, 0, 0.34)
A(cmos_and_g_vdd, licon, 2.715, 0.68, 0.17, 0.17, 1, 4, 0, 0.34)
A(cmos_and_g_vdd, licon, 3.915, 0.68, 0.17, 0.17, 1, 4, 0, 0.34)
A(cmos_and_g_vdd, licon, 4.665, 0.68, 0.17, 0.17, 1, 4, 0, 0.34)
A(cmos_and_g_vdd, licon, 1.015, 5.165, 0.17, 0.17, 10, 1, 0.4, 0)
A(cmos_and_g_vdd, licon, 0.45, 6.21, 0.17, 0.17, 1, 10, 0, 0.4)
A(cmos_and_g_vdd, licon, 5.43, 6.21, 0.17, 0.17, 1, 10, 0, 0.4)
A(cmos_and_g_vdd, licon, 1.215, 6.6, 0.17, 0.17, 3, 8, 0.75, 0.34)
A(cmos_and_g_vdd, licon, 3.915, 6.6, 0.17, 0.17, 1, 8, 0, 0.34)
A(cmos_and_g_vdd, licon, 4.665, 6.6, 0.17, 0.17, 1, 8, 0, 0.34)
A(cmos_and_g_vdd, licon, 0.99, 10.21, 0.17, 0.17, 12, 1, 0.36, 0)
R(cmos_and_g_vdd, licon, [(1.465,2.29,1.635,2.46), (2.215,2.29,2.385,2.46), (3.805,2.29,3.975,2.46), (4.165,2.29,4.335,2.46), (1.465,2.65,1.635,2.82), (2.215,2.65,2.385,2.82), (3.805,2.65,3.975,2.82), (4.165,2.65,4.335,2.82), (2.215,5.62,2.385,5.79), (1.465,5.94,1.635,6.11), (3.805,5.94,3.975,6.11), (4.165,5.94,4.335,6.11)])
A(cmos_and_g_vdd, li1, 1.1, 6.475, 0.4, 2.8, 3, 1, 0.75, 0)
R(cmos_and_g_vdd, li1, [(0.45,-0.395,5.73,-0.225), (0.45,-0.225,0.62,3.31), (5.56,-0.225,5.73,3.31), (1.1,0.625,1.5,1.925), (2.6,0.625,3,1.925), (3.8,0.625,4.2,1.925), (4.55,0.625,4.95,1.925), (1.35,2.175,1.75,2.935), (2.1,2.175,2.5,2.935), (3.69,2.175,4.45,2.935), (0.45,3.31,5.73,3.48), (1.35,3.65,1.75,4.05), (3.69,3.65,4.45,4.05), (1.45,4.05,1.65,4.595), (1.35,4.595,1.75,4.995), (0.45,5.165,5.6,5.335), (0.45,5.335,0.62,10.095), (5.43,5.335,5.6,10.095), (2.1,5.505,2.5,5.905), (1.35,5.825,1.75,6.225), (3.69,5.825,4.45,6.075), (1.95,6.075,4.45,6.275), (1.95,6.275,2.15,6.475), (3.8,6.475,4.2,9.275), (4.55,6.475,4.95,9.275), (0.45,10.095,5.6,10.495)])
A(cmos_and_g_vdd, mcon, 0.995, -0.395, 0.17, 0.17, 11, 1, 0.4, 0)
A(cmos_and_g_vdd, mcon, 1.215, 0.83, 0.17, 0.17, 1, 3, 0, 0.36)
A(cmos_and_g_vdd, mcon, 2.715, 0.83, 0.17, 0.17, 1, 3, 0, 0.36)
A(cmos_and_g_vdd, mcon, 3.915, 0.83, 0.17, 0.17, 1, 3, 0, 0.36)
A(cmos_and_g_vdd, mcon, 4.665, 0.83, 0.17, 0.17, 1, 3, 0, 0.36)
A(cmos_and_g_vdd, mcon, 1.215, 6.53, 0.17, 0.17, 1, 8, 0, 0.36)
A(cmos_and_g_vdd, mcon, 2.715, 6.53, 0.17, 0.17, 1, 8, 0, 0.36)
A(cmos_and_g_vdd, mcon, 3.915, 6.53, 0.17, 0.17, 1, 8, 0, 0.36)
A(cmos_and_g_vdd, mcon, 4.665, 6.53, 0.17, 0.17, 1, 8, 0, 0.36)
A(cmos_and_g_vdd, mcon, 0.99, 10.21, 0.17, 0.17, 12, 1, 0.36, 0)
R(cmos_and_g_vdd, mcon, [(1.465,2.29,1.635,2.46), (2.215,2.29,2.385,2.46), (3.805,2.29,3.975,2.46), (4.165,2.29,4.335,2.46), (1.465,2.65,1.635,2.82), (2.215,2.65,2.385,2.82), (3.805,2.65,3.975,2.82), (4.165,2.65,4.335,2.82), (1.465,3.765,1.635,3.935), (3.805,3.765,3.975,3.935), (4.165,3.765,4.335,3.935), (1.465,4.71,1.635,4.88), (2.215,5.62,2.385,5.79), (1.465,5.94,1.635,6.11), (3.805,5.94,3.975,6.11), (4.165,5.94,4.335,6.11)])
R(cmos_and_g_vdd, met1_pin, [(0,-0.56,0.5,-0.06), (0,4.225,0.205,4.425), (5.85,4.235,6.05,4.435), (0,5.925,0.205,6.125), (0,10.045,0.5,10.545)])
R(cmos_and_g_vdd, met1, [(0,-0.56,6.055,-0.06), (1.2,-0.06,1.4,0.625), (3.9,-0.06,4.1,0.625), (1.1,0.625,1.5,1.925), (2.6,0.625,3,1.925), (3.8,0.625,4.2,1.925), (4.55,0.625,4.95,1.925), (2.7,1.925,2.9,2.455), (4.65,1.925,4.85,4.235), (1.35,2.175,1.75,2.935), (2.1,2.175,2.5,2.935), (3.69,2.175,4.45,2.455), (2.7,2.455,4.45,2.655), (3.69,2.655,4.45,2.935), (1.45,2.935,1.65,3.65), (2.2,2.935,2.4,4.225), (3.97,2.935,4.17,3.65), (1.35,3.65,1.75,4.05), (3.69,3.65,4.45,4.05), (3.87,4.05,4.27,5.825), (0,4.225,2.4,4.425), (4.65,4.235,6.05,4.435), (2.2,4.425,2.4,5.505), (4.65,4.435,4.85,6.475), (1.35,4.595,1.75,4.995), (1.45,4.995,1.65,5.825), (2.1,5.505,2.5,5.905), (1.35,5.825,1.75,5.925), (3.69,5.825,4.45,6.225), (0,5.925,1.75,6.125), (1.35,6.125,1.75,6.225), (1.1,6.475,1.5,9.275), (2.6,6.475,3,9.275), (3.8,6.475,4.2,9.275), (4.55,6.475,4.95,9.275), (1.2,9.275,1.4,10.045), (2.705,9.275,2.905,10.045), (3.9,9.275,4.1,10.045), (0,10.045,6.055,10.545)])
R(cmos_and_g_vdd, nsdm, [(0.875,0.4,5.175,2.15), (0.325,5.04,5.725,5.46), (0.325,5.46,0.745,9.92), (5.305,5.46,5.725,9.92), (0.325,9.92,5.725,10.67)])
R(cmos_and_g_vdd, psdm, [(0.325,-0.52,5.855,-0.1), (0.325,-0.1,0.745,3.185), (5.435,-0.1,5.855,3.185), (0.325,3.185,5.855,3.605), (0.875,6.25,5.175,9.5)])
R(cmos_and_g_vdd, npc, [(1.365,2.19,1.735,2.92), (2.115,2.19,2.485,2.92), (3.705,2.19,4.435,2.92), (2.115,5.52,2.485,5.89), (1.365,5.84,1.735,6.21), (3.705,5.84,4.435,6.21)])
cmos_and_g_vdd.add(gdstk.Label('GND', (0.25,-0.31), layer=68, texttype=5))
cmos_and_g_vdd.add(gdstk.Label('A', (0.102,4.325), layer=68, texttype=5))
cmos_and_g_vdd.add(gdstk.Label('B', (0.102,6.025), layer=68, texttype=5))
cmos_and_g_vdd.add(gdstk.Label('AND', (5.95,4.335), layer=68, texttype=5))
cmos_and_g_vdd.add(gdstk.Label('VDD', (0.25,10.295), layer=68, texttype=5))

cmos_s3_g_vdd = lib.new_cell('CMOS_s3_G_VDD')
R(cmos_s3_g_vdd, li1, [(4.04,5.66,4.44,5.94), (4.04,5.94,7.16,6.14), (4.04,6.14,4.44,6.42), (3.47,6.8,3.87,6.885), (3.47,6.885,6.41,7.085), (3.47,7.085,3.87,7.56), (2.33,7.55,2.73,7.73), (5.84,7.55,6.24,7.73), (2.33,7.73,6.24,8.13), (2.33,8.13,2.73,8.31), (5.84,8.13,6.24,8.31), (2.9,9.795,3.3,9.975), (5.84,9.795,6.24,9.975), (2.9,9.975,6.24,10.375), (2.9,10.375,3.3,10.555), (5.84,10.375,6.24,10.555), (4.64,10.545,5.04,10.905), (4.64,10.905,6.41,11.305), (4.64,11.305,5.04,11.665), (1.76,11.655,2.16,11.835), (5.84,11.655,6.24,11.835), (1.76,11.835,6.24,12.235), (1.76,12.235,2.16,12.415), (5.84,12.235,6.24,12.415), (1.19,13.9,1.59,14.075), (5.84,13.9,6.24,14.075), (1.19,14.075,6.24,14.475), (1.19,14.475,1.59,14.66), (5.84,14.475,6.24,14.66), (0.05,14.645,0.45,15.125), (0.05,15.125,6.41,15.325), (23.925,15.285,24.325,15.565), (0.05,15.325,0.45,15.405), (25.715,15.465,26.475,15.565), (0.62,15.51,1.02,16.07), (23.925,15.565,26.475,15.765), (23.925,15.765,24.325,16.045), (25.715,15.765,26.475,15.865), (0.62,16.07,7.16,16.27)])
A(cmos_s3_g_vdd, mcon, 4.755, 10.66, 0.17, 0.17, 1, 3, 0, 0.36)
R(cmos_s3_g_vdd, mcon, [(4.155,5.775,4.325,5.945), (4.155,6.135,4.325,6.305), (3.585,6.915,3.755,7.085), (3.585,7.275,3.755,7.445), (2.445,7.665,2.615,7.835), (5.955,7.665,6.125,7.835), (2.445,8.025,2.615,8.195), (5.955,8.025,6.125,8.195), (3.015,9.91,3.185,10.08), (5.955,9.91,6.125,10.08), (3.015,10.27,3.185,10.44), (5.955,10.27,6.125,10.44), (1.875,11.77,2.045,11.94), (5.955,11.77,6.125,11.94), (1.875,12.13,2.045,12.3), (5.955,12.13,6.125,12.3), (1.305,14.015,1.475,14.185), (5.955,14.015,6.125,14.185), (1.305,14.375,1.475,14.545), (5.955,14.375,6.125,14.545), (0.165,14.76,0.335,14.93), (0.165,15.12,0.335,15.29), (24.04,15.4,24.21,15.57), (25.83,15.58,26,15.75), (26.19,15.58,26.36,15.75), (0.735,15.625,0.905,15.795), (24.04,15.76,24.21,15.93), (0.735,15.985,0.905,16.155)])
A(cmos_s3_g_vdd, met1_pin, 0.05, 21.56, 0.4, 0.4, 8, 1, 0.57, 0)
R(cmos_s3_g_vdd, met1_pin, [(28.425,15.515,28.625,15.715), (4.64,21.56,5.04,21.96), (5.24,21.56,5.64,21.96)])
A(cmos_s3_g_vdd, met1, 0.05, 0.245, 0.4, 21.715, 4, 1, 0.57, 0)
A(cmos_s3_g_vdd, met1, 19.665, 8.865, 0.26, 0.26, 1, 3, 0, 0.36)
A(cmos_s3_g_vdd, met1, 26.585, 9.03, 0.26, 0.26, 1, 3, 0, 0.36)
R(cmos_s3_g_vdd, met1, [(2.9,0.245,3.3,21.96), (2.33,0.25,2.73,21.96), (3.47,0.25,3.87,21.96), (4.04,0.25,4.44,21.96), (4.64,0.25,5.04,21.96), (5.24,0.25,28.02,0.75), (5.24,0.75,5.64,21.46), (21.765,4.29,22.165,5.09), (13.895,5.24,14.695,5.64), (21.765,5.84,22.165,6.57), (13.895,6.34,14.695,6.74), (5.84,7.55,6.24,8.31), (5.84,9.795,6.24,10.555), (5.96,10.855,28.625,11.355), (5.84,11.655,6.24,12.415), (5.84,13.9,6.24,14.66), (23.925,15.285,24.325,16.045), (25.715,15.465,26.475,15.865), (28.425,15.515,28.625,15.715), (13.365,15.64,14.435,15.84), (19.285,16.37,21.825,16.57), (13.895,17.24,14.695,17.64), (5.24,21.46,28.625,21.96)])
A(cmos_s3_g_vdd, via, 19.72, 8.92, 0.15, 0.15, 1, 3, 0, 0.36)
A(cmos_s3_g_vdd, via, 26.64, 9.085, 0.15, 0.15, 1, 3, 0, 0.36)
R(cmos_s3_g_vdd, via, [(1.315,4.22,1.465,4.37), (21.89,4.42,22.04,4.57), (1.315,4.62,1.465,4.77), (21.89,4.82,22.04,4.97), (3.595,5.32,3.745,5.47), (14.015,5.365,14.165,5.515), (14.415,5.365,14.565,5.515), (3.595,5.72,3.745,5.87), (21.89,5.965,22.04,6.115), (0.175,6.27,0.325,6.42), (21.89,6.285,22.04,6.435), (14.015,6.465,14.165,6.615), (14.415,6.465,14.565,6.615), (0.175,6.67,0.325,6.82), (3.025,7.805,3.175,7.955), (3.025,8.205,3.175,8.355), (25.84,15.59,25.99,15.74), (26.2,15.59,26.35,15.74), (4.165,17.165,4.315,17.315), (14.015,17.365,14.165,17.515), (14.415,17.365,14.565,17.515), (4.165,17.565,4.315,17.715)])
R(cmos_s3_g_vdd, met2, [(1.19,4.09,1.59,4.89), (21.765,4.29,22.165,5.09), (3.47,5.19,3.87,5.99), (13.895,5.24,14.695,5.64), (21.765,5.84,22.165,5.945), (10.5,5.945,22.165,6.145), (0.05,6.14,0.45,6.94), (21.765,6.145,22.165,6.57), (13.895,6.34,14.695,6.74), (2.9,7.675,3.3,8.475), (13.895,7.875,14.695,8.275), (19.595,8.705,19.995,10.005), (26.515,8.87,26.915,10.17), (19.695,10.005,19.895,14.035), (26.615,10.17,26.815,15.565), (19.695,14.035,21.825,14.235), (25.715,15.465,26.475,15.565), (25.715,15.565,26.815,15.765), (25.715,15.765,26.475,15.865), (4.04,17.035,4.44,17.835), (13.895,17.24,14.695,17.64)])
R(cmos_s3_g_vdd, via2, [(1.29,4.195,1.49,4.395), (21.865,4.395,22.065,4.595), (1.29,4.595,1.49,4.795), (21.865,4.795,22.065,4.995), (3.57,5.295,3.77,5.495), (13.99,5.34,14.19,5.54), (14.39,5.34,14.59,5.54), (3.57,5.695,3.77,5.895), (0.15,6.245,0.35,6.445), (13.99,6.44,14.19,6.64), (14.39,6.44,14.59,6.64), (0.15,6.645,0.35,6.845), (3,7.78,3.2,7.98), (14,7.975,14.2,8.175), (14.4,7.975,14.6,8.175), (3,8.18,3.2,8.38), (4.14,17.14,4.34,17.34), (13.99,17.34,14.19,17.54), (14.39,17.34,14.59,17.54), (4.14,17.54,4.34,17.74)])
R(cmos_s3_g_vdd, met3, [(1.14,4.04,1.64,4.44), (21.715,4.24,22.215,4.44), (1.14,4.44,22.215,4.84), (1.14,4.84,1.64,4.94), (21.715,4.84,22.215,5.14), (3.42,5.14,3.92,5.24), (13.845,5.19,14.745,5.24), (3.42,5.24,14.745,5.64), (3.42,5.64,3.92,6.04), (13.845,5.64,14.745,5.69), (0,6.09,0.5,6.34), (13.845,6.29,14.745,6.34), (0,6.34,14.745,6.74), (0,6.74,0.5,6.99), (13.845,6.74,14.745,6.79), (2.85,7.625,3.35,7.875), (13.845,7.825,14.745,7.875), (2.85,7.875,14.745,8.275), (2.85,8.275,3.35,8.525), (13.845,8.275,14.745,8.325), (3.99,16.985,4.49,17.24), (13.845,17.19,14.745,17.24), (3.99,17.24,14.745,17.64), (3.99,17.64,4.49,17.885), (13.845,17.64,14.745,17.69)])
cmos_s3_g_vdd.add(gdstk.Reference(cmos_xor_g_vdd, (5.96,11.48), x_reflection=True))
cmos_s3_g_vdd.add(gdstk.Reference(cmos_3in_and_g_vdd, (14.295,11.48), x_reflection=True))
cmos_s3_g_vdd.add(gdstk.Reference(cmos_3in_or_g_vdd, (21.825,10.73)))
cmos_s3_g_vdd.add(gdstk.Reference(cmos_xnor_g_vdd, (5.96,10.73)))
cmos_s3_g_vdd.add(gdstk.Reference(cmos_and_g_vdd, (14.435,11.415)))
cmos_s3_g_vdd.add(gdstk.Reference(cmos_and_g_vdd, (21.965,10.795), x_reflection=True))
cmos_s3_g_vdd.add(gdstk.Label('x0', (0.25,21.76), layer=68, texttype=5))
cmos_s3_g_vdd.add(gdstk.Label('x0_bar', (0.82,21.76), layer=68, texttype=5))
cmos_s3_g_vdd.add(gdstk.Label('x1', (1.39,21.76), layer=68, texttype=5))
cmos_s3_g_vdd.add(gdstk.Label('x1_bar', (1.96,21.76), layer=68, texttype=5))
cmos_s3_g_vdd.add(gdstk.Label('x2', (2.53,21.76), layer=68, texttype=5))
cmos_s3_g_vdd.add(gdstk.Label('x2_bar', (3.1,21.76), layer=68, texttype=5))
cmos_s3_g_vdd.add(gdstk.Label('x3', (3.67,21.76), layer=68, texttype=5))
cmos_s3_g_vdd.add(gdstk.Label('x3_bar', (4.24,21.76), layer=68, texttype=5))
cmos_s3_g_vdd.add(gdstk.Label('s3', (28.525,15.615), layer=68, texttype=5))
cmos_s3_g_vdd.add(gdstk.Label('VDD', (5.44,21.76), layer=68, texttype=5))
cmos_s3_g_vdd.add(gdstk.Label('GND', (4.84,21.76), layer=68, texttype=5))

lib.write_gds('CMOS_s3_G_VDD.gds')
